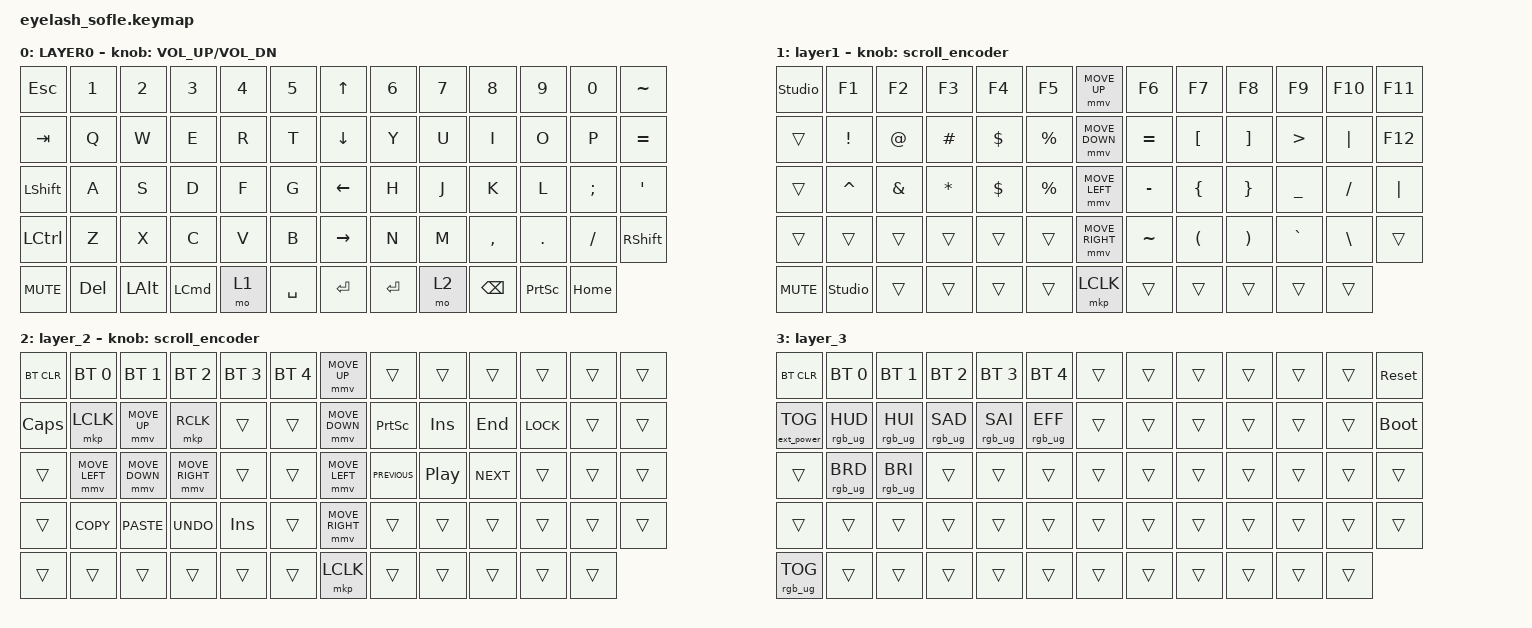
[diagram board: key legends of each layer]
#define ZMK_POINTING_DEFAULT_MOVE_VAL 1200  // 600
#define ZMK_POINTING_DEFAULT_SCRL_VAL 25   // 10

#include <input/processors.dtsi>
#include <zephyr/dt-bindings/input/input-event-codes.h>
#include <behaviors.dtsi>
#include <dt-bindings/zmk/bt.h>
#include <dt-bindings/zmk/ext_power.h>
#include <dt-bindings/zmk/keys.h>
#include <dt-bindings/zmk/pointing.h>
#include <dt-bindings/zmk/rgb.h>

&mmv_input_listener { input-processors = <&zip_xy_scaler 2 1>; };

&msc_input_listener { input-processors = <&zip_scroll_scaler 2 1>; };

&msc {
    acceleration-exponent = <1>;      // 0
    time-to-max-speed-ms = <100>;       // 300
    delay-ms = <0>;                   // 0
};

&mmv {
    time-to-max-speed-ms = <500>;
    acceleration-exponent = <1>;
    trigger-period-ms = <16>;
};

/ {
    scroll_encoder: scroll_encoder {
        compatible = "zmk,behavior-sensor-rotate";
        #sensor-binding-cells = <0>;
        bindings = <&msc SCRL_DOWN>, <&msc SCRL_UP>;

        tap-ms = <100>;
    };

    behaviors {
    };

    combos {
        compatible = "zmk,combos";

        Adjust_layer {
            bindings = <&mo 3>;
            key-positions = <56 60>;
        };
    };

    keymap {
        compatible = "zmk,keymap";

        layer0 {
            bindings = <
&kp ESC         &kp N1   &kp N2        &kp N3            &kp N4  &kp N5       &kp UP_ARROW     &kp N6     &kp N7  &kp N8         &kp N9           &kp N0    &kp TILDE
&kp TAB         &kp Q    &kp W         &kp E             &kp R   &kp T        &kp DOWN_ARROW   &kp Y      &kp U   &kp I          &kp O            &kp P     &kp EQUAL
&kp LEFT_SHIFT  &kp A    &kp S         &kp D             &kp F   &kp G        &kp LEFT_ARROW   &kp H      &kp J   &kp K          &kp L            &kp SEMI  &kp APOS
&kp LCTRL       &kp Z    &kp X         &kp C             &kp V   &kp B        &kp RIGHT_ARROW  &kp N      &kp M   &kp COMMA      &kp DOT          &kp FSLH  &kp RIGHT_SHIFT
&kp C_MUTE      &kp DEL  &kp LEFT_ALT  &kp LEFT_COMMAND  &mo 1   &kp SPACE    &kp ENTER        &kp ENTER  &mo 2   &kp BACKSPACE  &kp PRINTSCREEN  &kp HOME
            >;

            sensor-bindings = <&inc_dec_kp C_VOLUME_UP C_VOL_DN>;
            display-name = "LAYER0";
        };

        layer_1 {
            bindings = <
&studio_unlock  &kp F1           &kp F2       &kp F3        &kp F4      &kp F5         &mmv MOVE_UP     &kp F6     &kp F7                &kp F8                 &kp F9     &kp F10        &kp F11
&trans          &kp EXCLAMATION  &kp AT_SIGN  &kp HASH      &kp DOLLAR  &kp PERCENT    &mmv MOVE_DOWN   &kp EQUAL  &kp LEFT_BRACKET      &kp RIGHT_BRACKET      &kp GT     &kp PIPE       &kp F12
&trans          &kp CARET        &kp AMPS     &kp ASTERISK  &kp DOLLAR  &kp PERCENT    &mmv MOVE_LEFT   &kp MINUS  &kp LEFT_BRACE        &kp RIGHT_BRACE        &kp UNDER  &kp SLASH      &kp PIPE
&trans          &trans           &trans       &trans        &trans      &trans         &mmv MOVE_RIGHT  &kp TILDE  &kp LEFT_PARENTHESIS  &kp RIGHT_PARENTHESIS  &kp GRAVE  &kp BACKSLASH  &trans
&kp C_MUTE      &studio_unlock   &trans       &trans        &trans      &trans         &mkp LCLK        &trans     &trans                &trans                 &trans     &trans
            >;

            display-name = "layer1";
            sensor-bindings = <&scroll_encoder>;
        };

        layer_2 {
            bindings = <
&bt BT_CLR  &bt BT_SEL 0    &bt BT_SEL 1    &bt BT_SEL 2     &bt BT_SEL 3  &bt BT_SEL 4    &mmv MOVE_UP     &trans           &trans            &trans      &trans      &trans  &trans
&kp CAPS    &mkp LCLK       &mmv MOVE_UP    &mkp RCLK        &trans        &trans          &mmv MOVE_DOWN   &kp PRINTSCREEN  &kp INSERT        &kp END     &kp K_LOCK  &trans  &trans
&trans      &mmv MOVE_LEFT  &mmv MOVE_DOWN  &mmv MOVE_RIGHT  &trans        &trans          &mmv MOVE_LEFT   &kp C_PREVIOUS   &kp C_PLAY_PAUSE  &kp C_NEXT  &trans      &trans  &trans
&trans      &kp K_COPY      &kp K_PASTE     &kp K_UNDO       &kp INS       &trans          &mmv MOVE_RIGHT  &trans           &trans            &trans      &trans      &trans  &trans
&trans      &trans          &trans          &trans           &trans        &trans          &mkp LCLK        &trans           &trans            &trans      &trans      &trans
            >;

            sensor-bindings = <&scroll_encoder>;
        };

        layer_3 {
            bindings = <
&bt BT_CLR         &bt BT_SEL 0     &bt BT_SEL 1     &bt BT_SEL 2     &bt BT_SEL 3     &bt BT_SEL 4       &trans  &trans  &trans  &trans  &trans  &trans  &sys_reset
&ext_power EP_TOG  &rgb_ug RGB_HUD  &rgb_ug RGB_HUI  &rgb_ug RGB_SAD  &rgb_ug RGB_SAI  &rgb_ug RGB_EFF    &trans  &trans  &trans  &trans  &trans  &trans  &bootloader
&trans             &rgb_ug RGB_BRD  &rgb_ug RGB_BRI  &trans           &trans           &trans             &trans  &trans  &trans  &trans  &trans  &trans  &trans
&trans             &trans           &trans           &trans           &trans           &trans             &trans  &trans  &trans  &trans  &trans  &trans  &trans
&rgb_ug RGB_TOG    &trans           &trans           &trans           &trans           &trans             &trans  &trans  &trans  &trans  &trans  &trans
            >;
        };
    };
};
